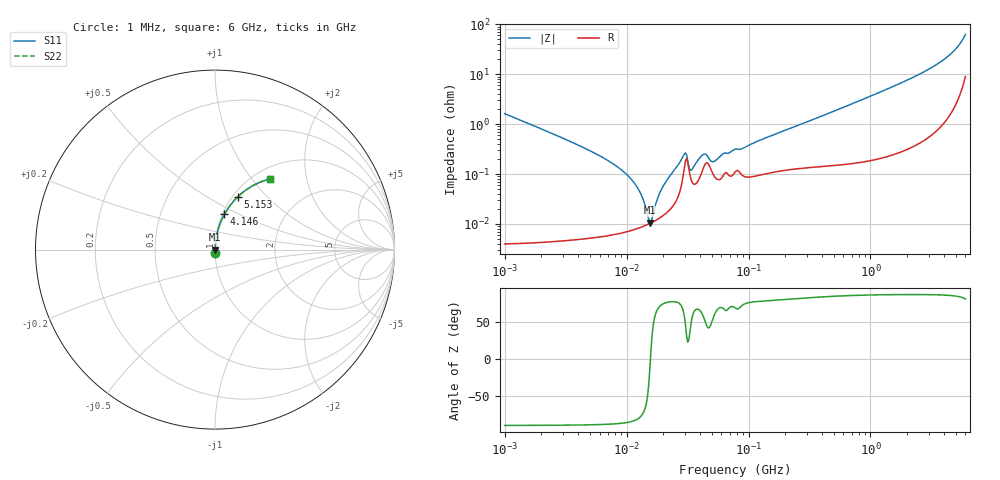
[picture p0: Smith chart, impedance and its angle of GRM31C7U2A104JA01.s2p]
!Murata Part Number: GRM31C7U2A104JA01
!These Parameters are Measured in Series Mode Connection
!Data Generated on Mar 30, 2021
!  o--ll--o
!Port1  Port2
!  o------o
!Operation Temp=25[degC], DC Bias Voltage=0[V]
!Freq. Start=1000[kHz] Stop=6[GHz] 401[Steps]
# Hz S RI R 50
!Freq.(Hz) S11(Real) S11(Imag) S21(Real) S21(Imag) S12(Real) S12(Imag) S22(Real) S22(Imag)
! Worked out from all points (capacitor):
!   401 points, 1 MHz to 6 GHz, reference 50 ohm
!   read as one part in series: C = 97.7 nF near 1.044 MHz
!   lowest |Z| = 10.5 mohm at 15.49 MHz (marker M1)
!   series resonance near 15.69 MHz, so ESL is about 1.1 nH
!   S11 on the Smith chart (normalised r, x): 1 MHz: 1.00, -0.03; 4.146 GHz: 1.02, +0.42; 5.153 GHz: 1.06, +0.70; 6 GHz: 1.18, +1.24
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1000000  0.000303 -0.0162  0.9997 0.0162  0.9997 0.0162  0.000303 -0.0162
4293785  6.17e-05 -0.00351  0.9999 0.00351  0.9999 0.00351  6.17e-05 -0.00351
7395623  6.2e-05 -0.00172  0.9999 0.00172  0.9999 0.00172  6.2e-05 -0.00172
1.047372e7  7.22e-05 -0.000875  0.9999 0.000875  0.9999 0.000875  7.22e-05 -0.000875
1.301831e7  8.52e-05 -0.0004  0.9999 0.0004  0.9999 0.0004  8.52e-05 -0.0004
1.549236e7  0.000102 -2.69e-05  0.9999 2.69e-05  0.9999 2.69e-05  0.000102 -2.69e-05
1.618111e7  0.000107 6.77e-05  0.9999 -6.77e-05  0.9999 -6.77e-05  0.000107 6.77e-05
1.843659e7  0.000129 0.000361  0.9999 -0.000361  0.9999 -0.000361  0.000129 0.000361
2.100646e7  0.000162 0.000682  0.9998 -0.000682  0.9998 -0.000682  0.000162 0.000682
2.974945e7  0.00132 0.00215  0.9987 -0.00215  0.9987 -0.00215  0.00132 0.00215
3.107204e7  0.00206 0.00126  0.9979 -0.00126  0.9979 -0.00126  0.00206 0.00126
3.389622e7  0.000759 0.000914  0.9992 -0.000914  0.9992 -0.000914  0.000759 0.000914
4.305766e7  0.0014 0.00207  0.9986 -0.00207  0.9986 -0.00207  0.0014 0.00207
5.124051e7  0.00099 0.00145  0.999 -0.00145  0.999 -0.00145  0.00099 0.00145
6.23192e7  0.00095 0.0024  0.9991 -0.0024  0.9991 -0.0024  0.00095 0.0024
7.745967e7  0.00109 0.00294  0.9989 -0.00294  0.9989 -0.00294  0.00109 0.00294
3.325952e8  0.0015 0.0121  0.9985 -0.0121  0.9985 -0.0121  0.0015 0.0121
1.428092e9  0.00504 0.0523  0.995 -0.0523  0.995 -0.0523  0.00504 0.0523
2.742317e9  0.0168 0.1092  0.9832 -0.1092  0.9832 -0.1092  0.0168 0.1092
4.145528e9  0.0525 0.1971  0.9475 -0.1971  0.9475 -0.1971  0.0525 0.1971
5.152685e9  0.1283 0.2956  0.8717 -0.2956  0.8717 -0.2956  0.1283 0.2956
6e9  0.3074 0.3945  0.6926 -0.3945  0.6926 -0.3945  0.3074 0.3945
